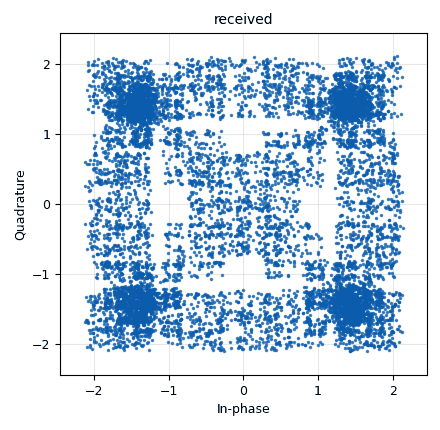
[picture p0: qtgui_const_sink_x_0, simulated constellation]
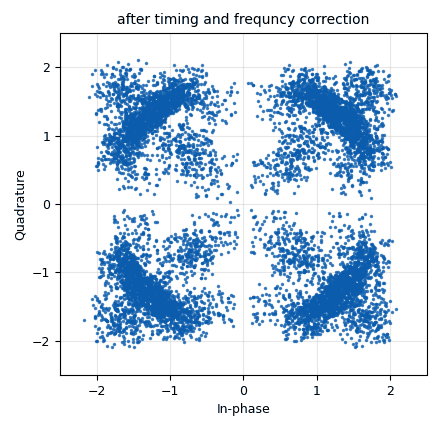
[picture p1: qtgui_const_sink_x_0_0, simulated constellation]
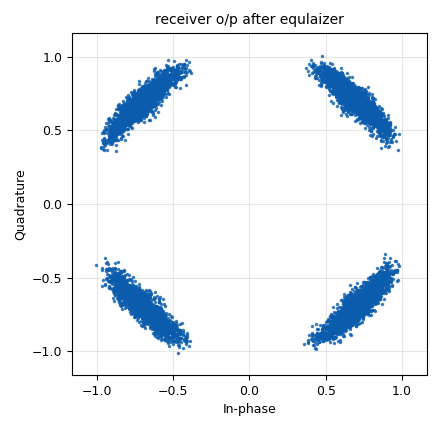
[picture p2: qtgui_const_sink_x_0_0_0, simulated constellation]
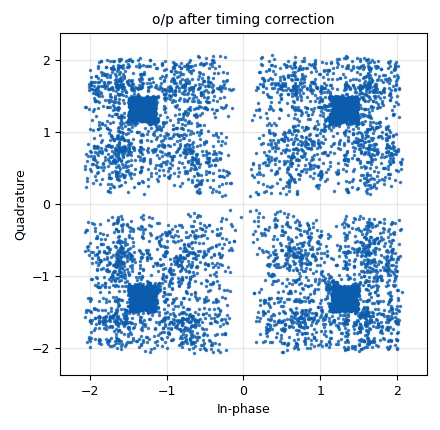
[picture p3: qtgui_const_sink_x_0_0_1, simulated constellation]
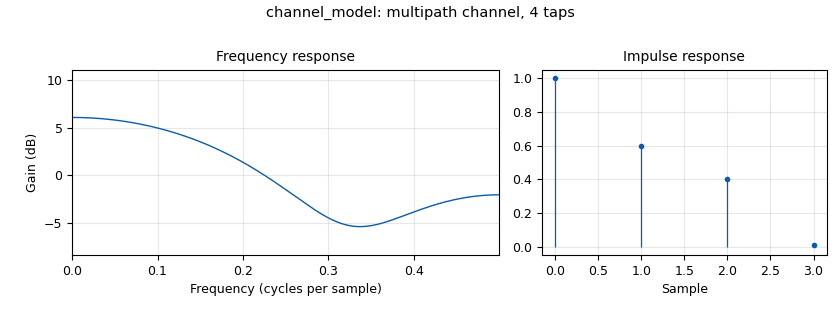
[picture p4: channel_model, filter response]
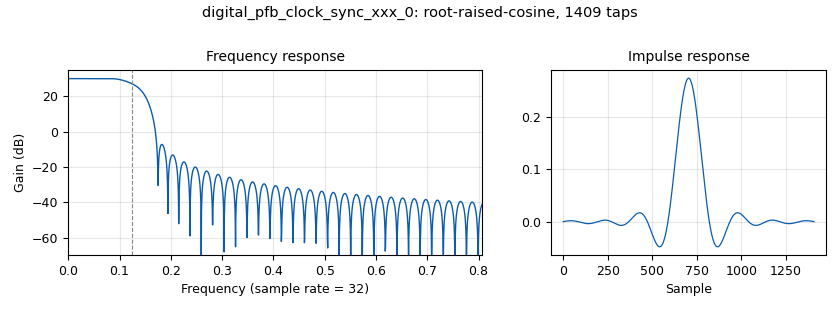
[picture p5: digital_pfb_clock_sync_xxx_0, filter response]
<?xml version='1.0' encoding='utf-8'?>
<?grc format='1' created='3.7.13'?>
<flow_graph>
<block>
<key>options</key>
<param><key>id</key><value>top_block</value></param>
<param><key>generate_options</key><value>qt_gui</value></param>
</block>
<block>
<key>variable</key>
<param><key>id</key><value>arity</value></param>
<param><key>value</key><value>4</value></param>
</block>
<block>
<key>variable</key>
<param><key>id</key><value>excess_bw</value></param>
<param><key>value</key><value>0.35</value></param>
</block>
<block>
<key>variable_qtgui_range</key>
<param><key>id</key><value>freq_offset</value></param>
<param><key>value</key><value>0</value></param>
<param><key>gui_hint</key><value>2,0,1,2</value></param>
<param><key>orient</key><value>Qt.Horizontal</value></param>
<param><key>start</key><value>0</value></param>
<param><key>step</key><value>0.01</value></param>
<param><key>stop</key><value>0.06</value></param>
<param><key>widget</key><value>counter</value></param>
</block>
<block>
<key>variable</key>
<param><key>id</key><value>nfilts</value></param>
<param><key>value</key><value>32</value></param>
</block>
<block>
<key>variable</key>
<param><key>id</key><value>numpoints</value></param>
<param><key>value</key><value>10000</value></param>
</block>
<block>
<key>variable_constellation_rect</key>
<param><key>id</key><value>qpsk</value></param>
<param><key>const_points</key><value>[0.707-0.707j, -0.707-0.707j, -0.707+0.707j,0.707+0.707j]</value></param>
<param><key>imag_sect</key><value>2</value></param>
<param><key>real_sect</key><value>2</value></param>
<param><key>rot_sym</key><value>4</value></param>
<param><key>sym_map</key><value>[0, 1, 2, 3]</value></param>
<param><key>w_imag_sect</key><value>1</value></param>
<param><key>w_real_sect</key><value>1</value></param>
</block>
<block>
<key>variable</key>
<param><key>id</key><value>rrc_taps</value></param>
<param><key>value</key><value>firdes.root_raised_cosine(nfilts, nfilts, 1.0/float(sps), 0.35, 11*sps*nfilts)</value></param>
</block>
<block>
<key>variable</key>
<param><key>id</key><value>samp_rate</value></param>
<param><key>value</key><value>32000</value></param>
</block>
<block>
<key>variable</key>
<param><key>id</key><value>sps</value></param>
<param><key>value</key><value>4</value></param>
</block>
<block>
<key>variable</key>
<param><key>id</key><value>taps</value></param>
<param><key>value</key><value>1,0.6,0.4,0.01</value></param>
</block>
<block>
<key>variable</key>
<param><key>id</key><value>taps</value></param>
<param><key>_enabled</key><value>0</value></param>
<param><key>value</key><value>1</value></param>
</block>
<block>
<key>variable_qtgui_range</key>
<param><key>id</key><value>time_offset</value></param>
<param><key>value</key><value>1.00</value></param>
<param><key>gui_hint</key><value>1,0,1,2</value></param>
<param><key>orient</key><value>Qt.Horizontal</value></param>
<param><key>start</key><value>0.8</value></param>
<param><key>step</key><value>0.01</value></param>
<param><key>stop</key><value>1.5</value></param>
<param><key>widget</key><value>counter</value></param>
</block>
<block>
<key>analog_random_source_x</key>
<param><key>id</key><value>analog_random_source_x_0</value></param>
<param><key>max</key><value>256</value></param>
<param><key>min</key><value>0</value></param>
<param><key>num_samps</key><value>numpoints</value></param>
<param><key>type</key><value>byte</value></param>
<param><key>repeat</key><value>True</value></param>
</block>
<block>
<key>blocks_throttle</key>
<param><key>id</key><value>blocks_throttle_0</value></param>
<param><key>samples_per_second</key><value>samp_rate</value></param>
<param><key>type</key><value>complex</value></param>
</block>
<block>
<key>blocks_throttle</key>
<param><key>id</key><value>blocks_throttle_0_0</value></param>
<param><key>samples_per_second</key><value>samp_rate</value></param>
<param><key>type</key><value>complex</value></param>
</block>
<block>
<key>blocks_throttle</key>
<param><key>id</key><value>blocks_throttle_0_0_0</value></param>
<param><key>samples_per_second</key><value>samp_rate</value></param>
<param><key>type</key><value>complex</value></param>
</block>
<block>
<key>blocks_throttle</key>
<param><key>id</key><value>blocks_throttle_0_0_1</value></param>
<param><key>samples_per_second</key><value>samp_rate</value></param>
<param><key>type</key><value>complex</value></param>
</block>
<block>
<key>channels_channel_model</key>
<param><key>id</key><value>channel_model</value></param>
<param><key>epsilon</key><value>time_offset</value></param>
<param><key>freq_offset</key><value>freq_offset</value></param>
<param><key>noise_voltage</key><value>0.02</value></param>
<param><key>seed</key><value>0</value></param>
<param><key>taps</key><value>taps</value></param>
</block>
<block>
<key>digital_cma_equalizer_cc</key>
<param><key>id</key><value>digital_cma_equalizer_cc_0</value></param>
<param><key>mu</key><value>0.01</value></param>
<param><key>modulus</key><value>1</value></param>
<param><key>num_taps</key><value>12</value></param>
<param><key>sps</key><value>2</value></param>
</block>
<block>
<key>digital_constellation_modulator</key>
<param><key>id</key><value>digital_constellation_modulator_0</value></param>
<param><key>constellation</key><value>qpsk</value></param>
<param><key>differential</key><value>True</value></param>
<param><key>excess_bw</key><value>excess_bw</value></param>
<param><key>samples_per_symbol</key><value>sps</value></param>
</block>
<block>
<key>digital_costas_loop_cc</key>
<param><key>id</key><value>digital_costas_loop_cc_0</value></param>
<param><key>w</key><value>6.28/100</value></param>
<param><key>order</key><value>arity</value></param>
<param><key>use_snr</key><value>True</value></param>
</block>
<block>
<key>digital_pfb_clock_sync_xxx</key>
<param><key>id</key><value>digital_pfb_clock_sync_xxx_0</value></param>
<param><key>filter_size</key><value>nfilts</value></param>
<param><key>init_phase</key><value>nfilts/2</value></param>
<param><key>loop_bw</key><value>6.28/100</value></param>
<param><key>max_dev</key><value>1.5</value></param>
<param><key>osps</key><value>2</value></param>
<param><key>sps</key><value>4</value></param>
<param><key>taps</key><value>rrc_taps</value></param>
<param><key>type</key><value>ccf</value></param>
</block>
<block>
<key>import</key>
<param><key>id</key><value>import</value></param>
<param><key>import</key><value>import math</value></param>
</block>
<block>
<key>qtgui_const_sink_x</key>
<param><key>id</key><value>qtgui_const_sink_x_0</value></param>
<param><key>autoscale</key><value>True</value></param>
<param><key>gui_hint</key><value>0,0,1,1</value></param>
<param><key>grid</key><value>True</value></param>
<param><key>name</key><value>"received"</value></param>
<param><key>size</key><value>numpoints</value></param>
<param><key>type</key><value>complex</value></param>
</block>
<block>
<key>qtgui_const_sink_x</key>
<param><key>id</key><value>qtgui_const_sink_x_0_0</value></param>
<param><key>autoscale</key><value>True</value></param>
<param><key>gui_hint</key><value>0,2,1,1</value></param>
<param><key>grid</key><value>True</value></param>
<param><key>name</key><value>after timing and frequncy correction</value></param>
<param><key>size</key><value>numpoints</value></param>
<param><key>type</key><value>complex</value></param>
</block>
<block>
<key>qtgui_const_sink_x</key>
<param><key>id</key><value>qtgui_const_sink_x_0_0_0</value></param>
<param><key>autoscale</key><value>True</value></param>
<param><key>gui_hint</key><value>0,3,1,1</value></param>
<param><key>grid</key><value>True</value></param>
<param><key>name</key><value>receiver o/p after equlaizer</value></param>
<param><key>size</key><value>numpoints</value></param>
<param><key>type</key><value>complex</value></param>
</block>
<block>
<key>qtgui_const_sink_x</key>
<param><key>id</key><value>qtgui_const_sink_x_0_0_1</value></param>
<param><key>autoscale</key><value>True</value></param>
<param><key>gui_hint</key><value>0,1,1,1</value></param>
<param><key>grid</key><value>True</value></param>
<param><key>name</key><value>o/p after timing correction</value></param>
<param><key>size</key><value>numpoints</value></param>
<param><key>type</key><value>complex</value></param>
</block>
<connection><source_block_id>analog_random_source_x_0</source_block_id><sink_block_id>digital_constellation_modulator_0</sink_block_id><source_key>0</source_key><sink_key>0</sink_key></connection>
<connection><source_block_id>blocks_throttle_0</source_block_id><sink_block_id>qtgui_const_sink_x_0</sink_block_id><source_key>0</source_key><sink_key>0</sink_key></connection>
<connection><source_block_id>blocks_throttle_0_0</source_block_id><sink_block_id>qtgui_const_sink_x_0_0</sink_block_id><source_key>0</source_key><sink_key>0</sink_key></connection>
<connection><source_block_id>blocks_throttle_0_0_0</source_block_id><sink_block_id>qtgui_const_sink_x_0_0_0</sink_block_id><source_key>0</source_key><sink_key>0</sink_key></connection>
<connection><source_block_id>blocks_throttle_0_0_1</source_block_id><sink_block_id>qtgui_const_sink_x_0_0_1</sink_block_id><source_key>0</source_key><sink_key>0</sink_key></connection>
<connection><source_block_id>channel_model</source_block_id><sink_block_id>blocks_throttle_0</sink_block_id><source_key>0</source_key><sink_key>0</sink_key></connection>
<connection><source_block_id>channel_model</source_block_id><sink_block_id>digital_pfb_clock_sync_xxx_0</sink_block_id><source_key>0</source_key><sink_key>0</sink_key></connection>
<connection><source_block_id>digital_cma_equalizer_cc_0</source_block_id><sink_block_id>blocks_throttle_0_0_0</sink_block_id><source_key>0</source_key><sink_key>0</sink_key></connection>
<connection><source_block_id>digital_constellation_modulator_0</source_block_id><sink_block_id>channel_model</sink_block_id><source_key>0</source_key><sink_key>0</sink_key></connection>
<connection><source_block_id>digital_costas_loop_cc_0</source_block_id><sink_block_id>blocks_throttle_0_0</sink_block_id><source_key>0</source_key><sink_key>0</sink_key></connection>
<connection><source_block_id>digital_costas_loop_cc_0</source_block_id><sink_block_id>digital_cma_equalizer_cc_0</sink_block_id><source_key>0</source_key><sink_key>0</sink_key></connection>
<connection><source_block_id>digital_pfb_clock_sync_xxx_0</source_block_id><sink_block_id>blocks_throttle_0_0_1</sink_block_id><source_key>0</source_key><sink_key>0</sink_key></connection>
<connection><source_block_id>digital_pfb_clock_sync_xxx_0</source_block_id><sink_block_id>digital_costas_loop_cc_0</sink_block_id><source_key>0</source_key><sink_key>0</sink_key></connection>
</flow_graph>
